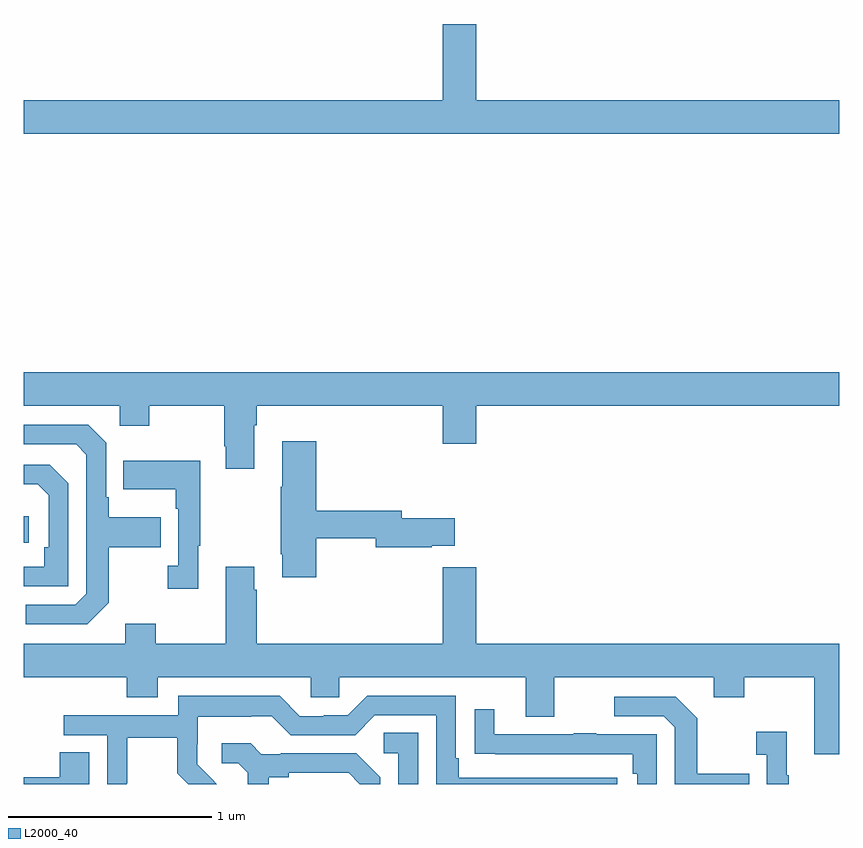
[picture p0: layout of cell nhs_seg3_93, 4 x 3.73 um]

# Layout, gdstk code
import gdstk
lib = gdstk.Library(unit=1e-6, precision=1e-09)
def R(c, l, rs):  # rectangles x0, y0, x1, y1
    for r in rs: c.add(gdstk.rectangle(r[:2], r[2:], *l))
def P(c, l, *ps):  # polygons
    for p in ps: c.add(gdstk.Polygon(p, *l))
L2000_40 = (2000, 40)

nhs_seg3_93 = lib.new_cell('nhs_seg3_93')
R(nhs_seg3_93, L2000_40, [(115,693.582,115.024,693.712)])
P(nhs_seg3_93, L2000_40, [(119,695.752),(117.22,695.752),(117.22,696.127),(117.056,696.127),(117.056,695.752),(115,695.752),(115,695.588),(119,695.588)],
  [(116.131,694.16),(116.144,694.16),(116.144,694.256),(117.056,694.256),(117.056,694.068),(117.22,694.068),(117.22,694.256),(119,694.256),(119,694.42),(115,694.42),(115,694.256),(115.47,694.256),(115.47,694.157),(115.617,694.157),(115.617,694.256),(115.984,694.256),(115.984,694.057),(115.991,694.057),(115.991,693.945),(116.131,693.945)],
  [(115.417,693.289),(115.417,693.562),(115.673,693.562),(115.673,693.709),(115.417,693.709),(115.417,693.805),(115.404,693.805),(115.404,694.074),(115.317,694.161),(115,694.161),(115,694.065),(115.257,694.065),(115.308,694.014),(115.308,693.333),(115.254,693.279),(115.011,693.279),(115.011,693.183),(115.311,693.183)],
  [(116.435,693.604),(116.726,693.604),(116.726,693.562),(117.002,693.562),(117.002,693.569),(117.115,693.569),(117.115,693.704),(116.854,693.704),(116.854,693.74),(116.435,693.74),(116.435,694.081),(116.267,694.081),(116.267,693.857),(116.26,693.857),(116.26,693.526),(116.267,693.526),(116.267,693.414),(116.435,693.414)],
  [(115.855,693.569),(115.867,693.569),(115.867,693.985),(115.489,693.985),(115.489,693.845),(115.746,693.845),(115.746,693.749),(115.758,693.749),(115.758,693.47),(115.707,693.47),(115.707,693.357),(115.855,693.357)],
  [(115.218,693.876),(115.128,693.966),(115,693.966),(115,693.869),(115.069,693.869),(115.122,693.816),(115.122,693.562),(115.102,693.562),(115.102,693.465),(115,693.465),(115,693.369),(115.218,693.369)],
  [(119,693.088),(117.22,693.088),(117.22,693.463),(117.056,693.463),(117.056,693.088),(116.144,693.088),(116.144,693.353),(116.131,693.353),(116.131,693.466),(115.991,693.466),(115.991,693.088),(115.647,693.088),(115.647,693.187),(115.499,693.187),(115.499,693.088),(115,693.088),(115,692.924),(115.505,692.924),(115.505,692.825),(115.657,692.825),(115.657,692.924),(116.409,692.924),(116.409,692.826),(116.547,692.826),(116.547,692.924),(117.461,692.924),(117.461,692.73),(117.601,692.73),(117.601,692.924),(118.385,692.924),(118.385,692.825),(118.533,692.825),(118.533,692.924),(118.877,692.924),(118.877,692.547),(119,692.547)],
  [(115.506,692.404),(115.509,692.404),(115.509,692.628),(115.753,692.628),(115.753,692.453),(115.806,692.4),(115.948,692.4),(115.925,692.423),(115.926,692.424),(115.852,692.498),(115.852,692.595),(115.854,692.595),(115.854,692.729),(116.117,692.729),(116.117,692.733),(116.217,692.733),(116.31,692.64),(116.625,692.64),(116.721,692.736),(117.024,692.736),(117.024,692.4),(117.91,692.4),(117.91,692.43),(117.133,692.43),(117.133,692.527),(117.12,692.527),(117.12,692.832),(116.685,692.832),(116.589,692.736),(116.471,692.736),(116.471,692.733),(116.355,692.733),(116.255,692.833),(115.758,692.833),(115.758,692.736),(115.197,692.736),(115.197,692.64),(115.41,692.64),(115.41,692.4),(115.506,692.4)],
  [(118.559,692.451),(118.303,692.451),(118.303,692.723),(118.197,692.829),(117.897,692.829),(117.897,692.733),(118.14,692.733),(118.194,692.679),(118.194,692.4),(118.559,692.4)],
  [(118.104,692.643),(117.809,692.643),(117.809,692.648),(117.697,692.648),(117.697,692.643),(117.307,692.643),(117.307,692.767),(117.211,692.767),(117.211,692.548),(117.313,692.548),(117.313,692.547),(117.988,692.547),(117.988,692.45),(118.008,692.45),(118.008,692.4),(118.104,692.4)],
  [(118.753,692.443),(118.741,692.443),(118.741,692.656),(118.593,692.656),(118.593,692.543),(118.644,692.543),(118.644,692.4),(118.753,692.4)],
  [(116.934,692.651),(116.766,692.651),(116.766,692.55),(116.838,692.55),(116.838,692.4),(116.934,692.4)],
  [(116.203,692.432),(116.299,692.432),(116.299,692.454),(116.594,692.454),(116.648,692.4),(116.748,692.4),(116.748,692.434),(116.632,692.55),(116.26,692.55),(116.26,692.547),(116.166,692.547),(116.114,692.599),(115.971,692.599),(115.971,692.502),(116.052,692.502),(116.099,692.455),(116.099,692.4),(116.203,692.4)],
  [(115.321,692.555),(115.178,692.555),(115.178,692.432),(115,692.432),(115,692.4),(115.321,692.4)])

lib.write_gds('nhs_seg3_93.gds')
